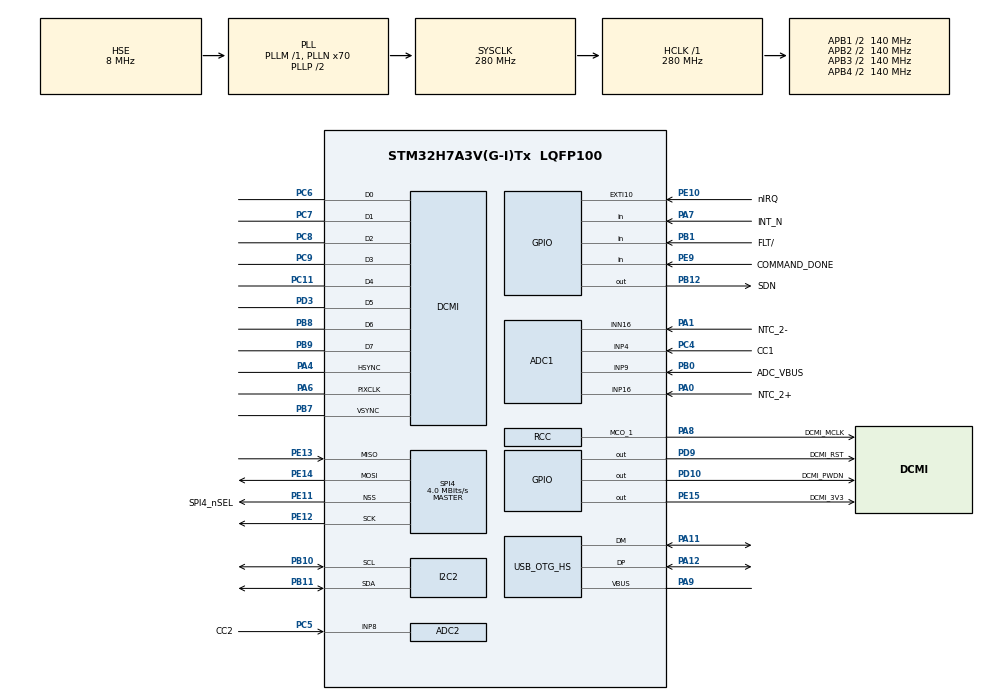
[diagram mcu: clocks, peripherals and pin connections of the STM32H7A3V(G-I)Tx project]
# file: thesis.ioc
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ADC1.Channel-1\#ChannelRegularConversion=ADC_CHANNEL_9
ADC1.ClockPrescaler=ADC_CLOCK_ASYNC_DIV2
ADC1.NbrOfConversionFlag=1
ADC1.OffsetNumber-1\#ChannelRegularConversion=ADC_OFFSET_NONE
ADC1.OffsetSignedSaturation-1\#ChannelRegularConversion=DISABLE
ADC1.Rank-1\#ChannelRegularConversion=1
ADC1.SamplingTime-1\#ChannelRegularConversion=ADC_SAMPLETIME_1CYCLE_5
ADC1.master=1
ADC2.Channel-1\#ChannelRegularConversion=ADC_CHANNEL_8
ADC2.ClockPrescaler=ADC_CLOCK_ASYNC_DIV2
ADC2.NbrOfConversionFlag=1
ADC2.OffsetNumber-1\#ChannelRegularConversion=ADC_OFFSET_NONE
ADC2.OffsetSignedSaturation-1\#ChannelRegularConversion=DISABLE
ADC2.Rank-1\#ChannelRegularConversion=1
ADC2.SamplingTime-1\#ChannelRegularConversion=ADC_SAMPLETIME_1CYCLE_5
CORTEX_M7.default_mode_Activation=1
DCMI.PCKPolarity=DCMI_PCKPOLARITY_RISING
DCMI.VSPolarity=DCMI_VSPOLARITY_HIGH
Dma.DCMI.0.Direction=DMA_PERIPH_TO_MEMORY
Dma.DCMI.0.EventEnable=DISABLE
Dma.DCMI.0.FIFOMode=DMA_FIFOMODE_ENABLE
Dma.DCMI.0.FIFOThreshold=DMA_FIFO_THRESHOLD_FULL
Dma.DCMI.0.Instance=DMA1_Stream0
Dma.DCMI.0.MemBurst=DMA_MBURST_SINGLE
Dma.DCMI.0.MemDataAlignment=DMA_MDATAALIGN_WORD
Dma.DCMI.0.MemInc=DMA_MINC_ENABLE
Dma.DCMI.0.Mode=DMA_NORMAL
Dma.DCMI.0.PeriphBurst=DMA_PBURST_SINGLE
Dma.DCMI.0.PeriphDataAlignment=DMA_PDATAALIGN_WORD
Dma.DCMI.0.PeriphInc=DMA_PINC_DISABLE
Dma.DCMI.0.Polarity=HAL_DMAMUX_REQ_GEN_RISING
Dma.DCMI.0.Priority=DMA_PRIORITY_VERY_HIGH
Dma.DCMI.0.RequestNumber=1
Dma.DCMI.0.SignalID=NONE
Dma.DCMI.0.SyncEnable=DISABLE
Dma.DCMI.0.SyncPolarity=HAL_DMAMUX_SYNC_NO_EVENT
Dma.DCMI.0.SyncRequestNumber=1
Dma.DCMI.0.SyncSignalID=NONE
Dma.Request0=DCMI
Dma.Request1=SPI4_TX
Dma.Request2=SPI4_RX
Dma.SPI4_RX.2.Direction=DMA_PERIPH_TO_MEMORY
Dma.SPI4_RX.2.EventEnable=DISABLE
Dma.SPI4_RX.2.FIFOMode=DMA_FIFOMODE_DISABLE
Dma.SPI4_RX.2.Instance=DMA1_Stream2
Dma.SPI4_RX.2.MemDataAlignment=DMA_MDATAALIGN_BYTE
Dma.SPI4_RX.2.MemInc=DMA_MINC_ENABLE
Dma.SPI4_RX.2.Mode=DMA_NORMAL
Dma.SPI4_RX.2.PeriphDataAlignment=DMA_PDATAALIGN_BYTE
Dma.SPI4_RX.2.PeriphInc=DMA_PINC_DISABLE
Dma.SPI4_RX.2.Polarity=HAL_DMAMUX_REQ_GEN_RISING
Dma.SPI4_RX.2.Priority=DMA_PRIORITY_LOW
Dma.SPI4_RX.2.RequestNumber=1
Dma.SPI4_RX.2.SignalID=NONE
Dma.SPI4_RX.2.SyncEnable=DISABLE
Dma.SPI4_RX.2.SyncPolarity=HAL_DMAMUX_SYNC_NO_EVENT
Dma.SPI4_RX.2.SyncRequestNumber=1
Dma.SPI4_RX.2.SyncSignalID=NONE
Dma.SPI4_TX.1.Direction=DMA_MEMORY_TO_PERIPH
Dma.SPI4_TX.1.EventEnable=DISABLE
Dma.SPI4_TX.1.FIFOMode=DMA_FIFOMODE_DISABLE
Dma.SPI4_TX.1.Instance=DMA1_Stream1
Dma.SPI4_TX.1.MemDataAlignment=DMA_MDATAALIGN_BYTE
Dma.SPI4_TX.1.MemInc=DMA_MINC_ENABLE
Dma.SPI4_TX.1.Mode=DMA_NORMAL
Dma.SPI4_TX.1.PeriphDataAlignment=DMA_PDATAALIGN_BYTE
Dma.SPI4_TX.1.PeriphInc=DMA_PINC_DISABLE
Dma.SPI4_TX.1.Polarity=HAL_DMAMUX_REQ_GEN_RISING
Dma.SPI4_TX.1.Priority=DMA_PRIORITY_LOW
Dma.SPI4_TX.1.RequestNumber=1
Dma.SPI4_TX.1.SignalID=NONE
Dma.SPI4_TX.1.SyncEnable=DISABLE
Dma.SPI4_TX.1.SyncPolarity=HAL_DMAMUX_SYNC_NO_EVENT
Dma.SPI4_TX.1.SyncRequestNumber=1
Dma.SPI4_TX.1.SyncSignalID=NONE
I2C2.Timing=0x20B0CCFF
Mcu.Family=STM32H7
Mcu.Name=STM32H7A3V(G-I)Tx
Mcu.Package=LQFP100
NVIC.DCMI_PSSI_IRQn=true\:0\:0\:false\:false\:true\:true\:true\:true
NVIC.DMA1_Stream0_IRQn=true\:0\:0\:false\:false\:true\:false\:true\:true
NVIC.DMA1_Stream1_IRQn=true\:0\:0\:false\:false\:true\:false\:true\:true
NVIC.DMA1_Stream2_IRQn=true\:0\:0\:false\:false\:true\:false\:true\:true
NVIC.EXTI15_10_IRQn=true\:0\:0\:true\:false\:true\:true\:true\:true
NVIC.OTG_HS_EP1_IN_IRQn=true\:0\:0\:false\:false\:true\:false\:true\:true
NVIC.OTG_HS_EP1_OUT_IRQn=true\:0\:0\:false\:false\:true\:false\:true\:true
NVIC.OTG_HS_IRQn=true\:0\:0\:false\:false\:true\:false\:true\:true
NVIC.PriorityGroup=NVIC_PRIORITYGROUP_4
NVIC.SPI4_IRQn=true\:0\:0\:false\:false\:true\:false\:true\:true
PA0.GPIO_Label=NTC_2+
PA0.Mode=IN16-Differential
PA0.Signal=ADC1_INP16
PA1.GPIO_Label=NTC_2-
PA1.Mode=IN16-Differential
PA1.Signal=ADC1_INN16
PA11.Mode=Device_Only_FS
PA11.Signal=USB_OTG_HS_DM
PA12.Mode=Device_Only_FS
PA12.Signal=USB_OTG_HS_DP
PA13.Mode=Trace_Asynchronous_SW
PA13.Signal=DEBUG_JTMS-SWDIO
PA14.Mode=Trace_Asynchronous_SW
PA14.Signal=DEBUG_JTCK-SWCLK
PA4.GPIO_Speed=GPIO_SPEED_FREQ_VERY_HIGH
PA4.Mode=Slave_8_bits_External_Synchro
PA4.Signal=DCMI_HSYNC
PA6.GPIO_Speed=GPIO_SPEED_FREQ_VERY_HIGH
PA6.Mode=Slave_8_bits_External_Synchro
PA6.Signal=DCMI_PIXCLK
PA7.GPIO_Label=INT_N
PA7.Signal=GPIO_Input
PA8.GPIO_Label=DCMI_MCLK
PA8.GPIO_Speed=GPIO_SPEED_FREQ_VERY_HIGH
PA8.Mode=Clock-out-1
PA8.Signal=RCC_MCO_1
PA9.Mode=Activate_VBUS_FS
PA9.Signal=USB_OTG_HS_VBUS
PB0.GPIO_Label=ADC_VBUS
PB0.Signal=ADCx_INP9
PB1.GPIO_Label=FLT/
PB1.Signal=GPIO_Input
PB10.GPIO_Pu=GPIO_PULLUP
PB10.GPIO_Speed=GPIO_SPEED_FREQ_VERY_HIGH
PB10.Mode=I2C
PB10.Signal=I2C2_SCL
PB11.GPIO_Pu=GPIO_PULLUP
PB11.GPIO_Speed=GPIO_SPEED_FREQ_VERY_HIGH
PB11.Mode=I2C
PB11.Signal=I2C2_SDA
PB12.GPIO_Label=SDN
PB12.GPIO_PuPd=GPIO_PULLDOWN
PB12.GPIO_Speed=GPIO_SPEED_FREQ_VERY_HIGH
PB12.Signal=GPIO_Output
PB3.Mode=Trace_Asynchronous_SW
PB3.Signal=DEBUG_JTDO-SWO
PB7.GPIO_Speed=GPIO_SPEED_FREQ_VERY_HIGH
PB7.Mode=Slave_8_bits_External_Synchro
PB7.Signal=DCMI_VSYNC
PB8.GPIO_Speed=GPIO_SPEED_FREQ_VERY_HIGH
PB8.Mode=Slave_8_bits_External_Synchro
PB8.Signal=DCMI_D6
PB9.GPIO_Speed=GPIO_SPEED_FREQ_VERY_HIGH
PB9.Mode=Slave_8_bits_External_Synchro
PB9.Signal=DCMI_D7
PC11.GPIO_Speed=GPIO_SPEED_FREQ_VERY_HIGH
PC11.Mode=Slave_8_bits_External_Synchro
PC11.Signal=DCMI_D4
PC4.GPIO_Label=CC1
PC4.Signal=ADCx_INP4
PC5.GPIO_Label=CC2
PC5.Signal=ADCx_INP8
PC6.GPIO_Speed=GPIO_SPEED_FREQ_VERY_HIGH
PC6.Mode=Slave_8_bits_External_Synchro
PC6.Signal=DCMI_D0
PC7.GPIO_Speed=GPIO_SPEED_FREQ_VERY_HIGH
PC7.Mode=Slave_8_bits_External_Synchro
PC7.Signal=DCMI_D1
PC8.GPIO_Speed=GPIO_SPEED_FREQ_VERY_HIGH
PC8.Mode=Slave_8_bits_External_Synchro
PC8.Signal=DCMI_D2
PC9.GPIO_Speed=GPIO_SPEED_FREQ_VERY_HIGH
PC9.Mode=Slave_8_bits_External_Synchro
PC9.Signal=DCMI_D3
PD10.GPIO_Label=DCMI_PWDN
PD10.GPIO_Speed=GPIO_SPEED_FREQ_VERY_HIGH
PD10.PinState=GPIO_PIN_SET
PD10.Signal=GPIO_Output
PD3.GPIO_Speed=GPIO_SPEED_FREQ_VERY_HIGH
PD3.Mode=Slave_8_bits_External_Synchro
PD3.Signal=DCMI_D5
PD9.GPIO_Label=DCMI_RST
PD9.GPIO_Speed=GPIO_SPEED_FREQ_VERY_HIGH
PD9.Signal=GPIO_Output
PE10.GPIO_Label=nIRQ
PE10.GPIO_ModeDefaultEXTI=GPIO_MODE_IT_FALLING
PE10.GPIO_PuPd=GPIO_NOPULL
PE10.Signal=GPXTI10
PE11.GPIO_Label=SPI4_nSEL
PE11.GPIO_PuPd=GPIO_PULLUP
PE11.GPIO_Speed=GPIO_SPEED_FREQ_VERY_HIGH
PE11.Mode=NSS_Signal_Hard_Output
PE11.Signal=SPI4_NSS
PE12.GPIO_Speed=GPIO_SPEED_FREQ_VERY_HIGH
PE12.Mode=Full_Duplex_Master
PE12.Signal=SPI4_SCK
PE13.GPIO_PuPd=GPIO_NOPULL
PE13.GPIO_Speed=GPIO_SPEED_FREQ_VERY_HIGH
PE13.Mode=Full_Duplex_Master
PE13.Signal=SPI4_MISO
PE14.GPIO_Speed=GPIO_SPEED_FREQ_VERY_HIGH
PE14.Mode=Full_Duplex_Master
PE14.Signal=SPI4_MOSI
PE15.GPIO_Label=DCMI_3V3
PE15.Signal=GPIO_Output
PE9.GPIO_Label=COMMAND_DONE
PE9.Signal=GPIO_Input
PH0-OSC_IN.Mode=HSE-External-Clock-Source
PH0-OSC_IN.Signal=RCC_OSC_IN
ProjectManager.HeapSize=0x200
ProjectManager.StackSize=0x400
ProjectManager.TargetToolchain=STM32CubeIDE
RCC.ADCCLockSelection=RCC_ADCCLKSOURCE_CLKP
RCC.ADCFreq_Value=8000000
RCC.APB1Freq_Value=140000000
RCC.APB2Freq_Value=140000000
RCC.APB3Freq_Value=140000000
RCC.APB4Freq_Value=140000000
RCC.CDPPRE=RCC_APB3_DIV2
RCC.CDPPRE1=RCC_APB1_DIV2
RCC.CDPPRE2=RCC_APB2_DIV2
RCC.CKPERSourceSelection=RCC_CLKPSOURCE_HSE
RCC.CortexFreq_Value=280000000
RCC.DIVM1=1
RCC.DIVM2=1
RCC.DIVM3=1
RCC.DIVN1=70
RCC.DIVN2=16
RCC.DIVN3=18
RCC.DIVQ1=25
RCC.DIVQ2=16
RCC.DIVQ3=3
RCC.DIVR1=4
RCC.DIVR3=128
RCC.HCLKFreq_Value=280000000
RCC.HSE_VALUE=8000000
RCC.PLL1_VCI_Range=RCC_PLL1VCIRANGE_3
RCC.PLL2FRACN=0
RCC.PLL3FRACN=0
RCC.PLLFRACN=0
RCC.RCC_MCO1Source=RCC_MCO1SOURCE_PLL1QCLK
RCC.SRDPPRE=RCC_APB4_DIV2
RCC.SYSCLKFreq_VALUE=280000000
RCC.SYSCLKSource=RCC_SYSCLKSOURCE_PLLCLK
RCC.Spi45ClockSelection=RCC_SPI45CLKSOURCE_PLL2
RCC.USBCLockSelection=RCC_USBCLKSOURCE_PLL3
RCC.USBFreq_Value=48000000
SH.ADCx_INP4.0=ADC1_INP4,IN4-Single-Ended
SH.ADCx_INP8.0=ADC2_INP8,IN8-Single-Ended
SH.ADCx_INP9.0=ADC1_INP9,IN9-Single-Ended
SPI4.BaudRatePrescaler=SPI_BAUDRATEPRESCALER_2
SPI4.CLKPhase=SPI_PHASE_1EDGE
SPI4.CLKPolarity=SPI_POLARITY_LOW
SPI4.CalculateBaudRate=4.0 MBits/s
SPI4.DataSize=SPI_DATASIZE_8BIT
SPI4.Direction=SPI_DIRECTION_2LINES
SPI4.Mode=SPI_MODE_MASTER
SPI4.VirtualNSS=VM_NSSHARD
SPI4.VirtualType=VM_MASTER
USB_DEVICE.CLASS_NAME_HS=CDC
USB_DEVICE.VirtualMode=Cdc
USB_DEVICE.VirtualModeHS=Cdc_HS
USB_OTG_HS.VirtualMode-Device_Only_FS=Device_Only_FS
USB_OTG_HS.dma_enable-Device_Only_FS=DISABLE
USB_OTG_HS.low_power_enable-Device_Only_FS=DISABLE
USB_OTG_HS.use_dedicated_ep1-Device_Only_FS=DISABLE
VP_ADC2_TempSens_Input.Mode=IN-TempSens
VP_MEMORYMAP_VS_MEMORYMAP.Mode=CurAppReg
VP_USB_DEVICE_VS_USB_DEVICE_CDC_HS.Mode=CDC_HS
board=custom

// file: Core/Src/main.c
/* USER CODE BEGIN Header */
/**
  ******************************************************************************
  * @file           : main.c
  * @brief          : Main program body
  ******************************************************************************
  * @attention
  *
  * Copyright (c) 2025 STMicroelectronics.
  * All rights reserved.
  *
  * This software is licensed under terms that can be found in the LICENSE file
  * in the root directory of this software component.
  * If no LICENSE file comes with this software, it is provided AS-IS.
  *
  ******************************************************************************
  */
/* USER CODE END Header */
#include "main.h"
#include "usb_device.h"

/* USER CODE BEGIN Includes */
#include "usbd_cdc_if.h"
/* USER CODE END Includes */

/* USER CODE BEGIN PTD */
#include "custom_typedefs.h"
/* USER CODE END PTD */

/* USER CODE BEGIN PD */
//#define GROUND_STATION									// <<<<<<< UNCOMMENT WHEN FLASHING THE GROUND STATION
/* USER CODE END PD */

ADC_HandleTypeDef hadc1;
ADC_HandleTypeDef hadc2;

DCMI_HandleTypeDef hdcmi;
DMA_HandleTypeDef hdma_dcmi;

I2C_HandleTypeDef hi2c2;

SPI_HandleTypeDef hspi4;
DMA_HandleTypeDef hdma_spi4_tx;
DMA_HandleTypeDef hdma_spi4_rx;

/* USER CODE BEGIN PV */
/* USER CODE BEGIN PV */
// Include of setup.h has to happen here, to support extern loading of globally defined variable

HAL_StatusTypeDef status = 0;
fault_flag error_index = 0;
char cmd_index = '0';
uint8_t cam_mode_select = 0xFF;
uint8_t radio_nirq = 0;
uint8_t ping_in_progress = 0;

uint32_t img_size;
uint8_t img_flag = 0; // img is not being transmitted
uint32_t img_progress = 0x100000000; // indicate actual position of transmitted img data - idle
uint8_t ack = 0;
#include <routines.h>
/* USER CODE END PV */

void SystemClock_Config(void);
void PeriphCommonClock_Config(void);
static void MPU_Config(void);
static void MX_GPIO_Init(void);
static void MX_DMA_Init(void);
static void MX_DCMI_Init(void);
static void MX_I2C2_Init(void);
static void MX_ADC1_Init(void);
static void MX_ADC2_Init(void);
static void MX_SPI4_Init(void);

/* USER CODE BEGIN 0 */

void USB_CDC_RxHandler(uint8_t *buffer, uint32_t size) {
	char cmd_temp = buffer[0];
	if (cmd_temp == '\r') {
		return;
	}
	else if (size == 1) {
		cmd_index = (char) buffer[0];
	}
	else {
		uint8_t first = (uint8_t) buffer[0] - '1';
		uint8_t second = (uint8_t) buffer[1] - '1';

		cam_mode_select = first * 16 + second;
		/*
		char mode_temp[2] = {buffer[0], buffer[1]};
		switch(mode_temp) {
			case "11": {cam_mode_select = 0x00;}
			case "12": {cam_mode_select = 0x01;}
			case "21": {cam_mode_select = 0x10;}
			case "22": {cam_mode_select = 0x11;}
			case "31": {cam_mode_select = 0x20;}
			case "32": {cam_mode_select = 0x21;}
			case "41": {cam_mode_select = 0x30;}
			case "42": {cam_mode_select = 0x31;}
			default: {
				cam_mode_select = 0xAA; //ERROR
			}
		}*/
	}
}

/* USER CODE END 0 */

int main(void)
{

  /* MPU Configuration--------------------------------------------------------*/
  MPU_Config();

  /* MCU Configuration--------------------------------------------------------*/

  /* Reset of all peripherals, Initializes the Flash interface and the Systick. */
  HAL_Init();

  /* Configure the system clock */
  SystemClock_Config();

  /* Configure the peripherals common clocks */
  PeriphCommonClock_Config();

  /* Initialize all configured peripherals */
  MX_GPIO_Init();
  MX_DMA_Init();
  MX_DCMI_Init();
  MX_I2C2_Init();
  MX_ADC1_Init();
  MX_ADC2_Init();
  MX_USB_DEVICE_Init();
  MX_SPI4_Init();

  /* Infinite loop */
  /* USER CODE BEGIN WHILE */

  setup(&status, &error_index);
  uint8_t img_buffer[614400] = {0};
  //nirq_handler(&status, &error_index, &ping_in_progress);
#ifdef GROUND_STATION
  cmd_main_win();
#endif
  //HAL_NVIC_EnableIRQ(nIRQ_EXTI_IRQn);
  while (1) {
 	  if (radio_nirq) {
		  // Handling of the packet IRQ
		  //HAL_NVIC_DisableIRQ(nIRQ_EXTI_IRQn);
		  nirq_handler(&status, &error_index, &ping_in_progress, &ack, img_buffer, &img_progress);
		  //HAL_NVIC_EnableIRQ(nIRQ_EXTI_IRQn);
		  radio_nirq = 0;
	  }
	  if (img_flag && ack) {
		  transmit_img(&status, &error_index, img_buffer, &img_progress);
		  ack = 0;

	  }
#ifdef GROUND_STATION
	  if (ping_in_progress == 2) {
		  ping_in_progress = 0;
		  uint8_t buffer[] = "Ping received \r\n";
		  uint8_t buffer_size = sizeof(buffer);
		  CDC_Transmit_HS(buffer, buffer_size);
	  }
	  switch (cmd_index) {

	  		  // Idle
	  		  case '0':
	  			break;

	  		  // Ping
	  		  case '1': {
	  			  ping_in_progress = 1;
	  			  radio_ping(&status);
	  			  uint8_t buffer[] = "Ping send \r\n";
	  			  uint8_t buffer_size = sizeof(buffer);
	  			  CDC_Transmit_HS(buffer, buffer_size);
	  			  cmd_index = '0';
	  			  break;
	  			}

	  		  // Telemetry
	  		  case '2': {
	  			  cmd_index = '0';
	  			break;
	  		  }

	  		  // IMG
	  		  case '3': {
	  			  cmd_img_options();
	  			  while (cam_mode_select == 0xFF) {
	  				  if (cam_mode_select == 0xAA) {
	  					  uint8_t buffer[] = "Unrecognized command \r\n";
	  					  uint16_t buffer_size = sizeof(buffer);
	  					  CDC_Transmit_HS(buffer, buffer_size);
	  					  cmd_index = '0';
	  					  break;
	  				  }
	  			  }
	  			  //capture_img(&status, &error_index, &cam_mode_select);
	  			  request_img(&status, &error_index, &cam_mode_select);
	  			  cmd_index = '0';
	  			  cam_mode_select = 0xFF; //return to default state
	  			break;
	  		  }
	  		  case '4': {
	  			uint8_t buffer[] = "\e[1;1H\e[2J";
	  			uint16_t buffer_size = sizeof(buffer);
	  			CDC_Transmit_HS(buffer, buffer_size);
	  			cmd_index = '0';
	  			HAL_Delay(100);
	  			cmd_main_win();
	  			break;
	  		  }
	  		  case '5': {
	  			  get_GS_state(&status);
	  			  cmd_index = '0';
	  			  break;
	  		  }
	  		  case '6': {
	  			img_flag = 0;
	  			cmd_index = '0';
	  			uint8_t buffer[] = "Flags reset \r\n";
	  			uint16_t buffer_size = sizeof(buffer);
	  			CDC_Transmit_HS(buffer, buffer_size);
	  			radio_mode_Rx(status);

	  			break;
	  		  }
	  		  default: {
	  			uint8_t buffer[] = "Unrecognized command \r\n";
	  			uint16_t buffer_size = sizeof(buffer);
	  			CDC_Transmit_HS(buffer, buffer_size);
	  			cmd_index = '0';
	  		  }
	  	  }
#endif

    /* USER CODE END WHILE */

  }
}

void SystemClock_Config(void)
{
  RCC_OscInitTypeDef RCC_OscInitStruct = {0};
  RCC_ClkInitTypeDef RCC_ClkInitStruct = {0};

  /*AXI clock gating */
  RCC->CKGAENR = 0xFFFFFFFF;

  /** Supply configuration update enable
  */
  HAL_PWREx_ConfigSupply(PWR_LDO_SUPPLY);

  /** Configure the main internal regulator output voltage
  */
  __HAL_PWR_VOLTAGESCALING_CONFIG(PWR_REGULATOR_VOLTAGE_SCALE0);

  while(!__HAL_PWR_GET_FLAG(PWR_FLAG_VOSRDY)) {}

  /** Initializes the RCC Oscillators according to the specified parameters
  * in the RCC_OscInitTypeDef structure.
  */
  RCC_OscInitStruct.OscillatorType = RCC_OSCILLATORTYPE_HSE;
  RCC_OscInitStruct.HSEState = RCC_HSE_BYPASS;
  RCC_OscInitStruct.PLL.PLLState = RCC_PLL_ON;
  RCC_OscInitStruct.PLL.PLLSource = RCC_PLLSOURCE_HSE;
  RCC_OscInitStruct.PLL.PLLM = 1;
  RCC_OscInitStruct.PLL.PLLN = 70;
  RCC_OscInitStruct.PLL.PLLP = 2;
  RCC_OscInitStruct.PLL.PLLQ = 25;
  RCC_OscInitStruct.PLL.PLLR = 4;
  RCC_OscInitStruct.PLL.PLLRGE = RCC_PLL1VCIRANGE_3;
  RCC_OscInitStruct.PLL.PLLVCOSEL = RCC_PLL1VCOWIDE;
  RCC_OscInitStruct.PLL.PLLFRACN = 0;
  if (HAL_RCC_OscConfig(&RCC_OscInitStruct) != HAL_OK)
  {
    Error_Handler();
  }

  /** Initializes the CPU, AHB and APB buses clocks
  */
  RCC_ClkInitStruct.ClockType = RCC_CLOCKTYPE_HCLK|RCC_CLOCKTYPE_SYSCLK
                              |RCC_CLOCKTYPE_PCLK1|RCC_CLOCKTYPE_PCLK2
                              |RCC_CLOCKTYPE_D3PCLK1|RCC_CLOCKTYPE_D1PCLK1;
  RCC_ClkInitStruct.SYSCLKSource = RCC_SYSCLKSOURCE_PLLCLK;
  RCC_ClkInitStruct.SYSCLKDivider = RCC_SYSCLK_DIV1;
  RCC_ClkInitStruct.AHBCLKDivider = RCC_HCLK_DIV1;
  RCC_ClkInitStruct.APB3CLKDivider = RCC_APB3_DIV2;
  RCC_ClkInitStruct.APB1CLKDivider = RCC_APB1_DIV2;
  RCC_ClkInitStruct.APB2CLKDivider = RCC_APB2_DIV2;
  RCC_ClkInitStruct.APB4CLKDivider = RCC_APB4_DIV2;

  if (HAL_RCC_ClockConfig(&RCC_ClkInitStruct, FLASH_LATENCY_6) != HAL_OK)
  {
    Error_Handler();
  }
  __HAL_RCC_PLLCLKOUT_ENABLE(RCC_PLL1_DIVQ);
  HAL_RCC_MCOConfig(RCC_MCO1, RCC_MCO1SOURCE_PLL1QCLK, RCC_MCODIV_1);
}

void PeriphCommonClock_Config(void)
{
  RCC_PeriphCLKInitTypeDef PeriphClkInitStruct = {0};

  /** Initializes the peripherals clock
  */
  PeriphClkInitStruct.PeriphClockSelection = RCC_PERIPHCLK_CKPER;
  PeriphClkInitStruct.CkperClockSelection = RCC_CLKPSOURCE_HSE;
  if (HAL_RCCEx_PeriphCLKConfig(&PeriphClkInitStruct) != HAL_OK)
  {
    Error_Handler();
  }
}

static void MX_ADC1_Init(void)
{

  ADC_MultiModeTypeDef multimode = {0};
  ADC_ChannelConfTypeDef sConfig = {0};

  /** Common config
  */
  hadc1.Instance = ADC1;
  hadc1.Init.ClockPrescaler = ADC_CLOCK_ASYNC_DIV2;
  hadc1.Init.Resolution = ADC_RESOLUTION_16B;
  hadc1.Init.ScanConvMode = ADC_SCAN_DISABLE;
  hadc1.Init.EOCSelection = ADC_EOC_SINGLE_CONV;
  hadc1.Init.LowPowerAutoWait = DISABLE;
  hadc1.Init.ContinuousConvMode = DISABLE;
  hadc1.Init.NbrOfConversion = 1;
  hadc1.Init.DiscontinuousConvMode = DISABLE;
  hadc1.Init.ExternalTrigConv = ADC_SOFTWARE_START;
  hadc1.Init.ExternalTrigConvEdge = ADC_EXTERNALTRIGCONVEDGE_NONE;
  hadc1.Init.ConversionDataManagement = ADC_CONVERSIONDATA_DR;
  hadc1.Init.Overrun = ADC_OVR_DATA_PRESERVED;
  hadc1.Init.LeftBitShift = ADC_LEFTBITSHIFT_NONE;
  hadc1.Init.OversamplingMode = DISABLE;
  if (HAL_ADC_Init(&hadc1) != HAL_OK)
  {
    Error_Handler();
  }

  /** Configure the ADC multi-mode
  */
  multimode.Mode = ADC_MODE_INDEPENDENT;
  if (HAL_ADCEx_MultiModeConfigChannel(&hadc1, &multimode) != HAL_OK)
  {
    Error_Handler();
  }

  /** Configure Regular Channel
  */
  sConfig.Channel = ADC_CHANNEL_9;
  sConfig.Rank = ADC_REGULAR_RANK_1;
  sConfig.SamplingTime = ADC_SAMPLETIME_1CYCLE_5;
  sConfig.SingleDiff = ADC_SINGLE_ENDED;
  sConfig.OffsetNumber = ADC_OFFSET_NONE;
  sConfig.Offset = 0;
  sConfig.OffsetSignedSaturation = DISABLE;
  if (HAL_ADC_ConfigChannel(&hadc1, &sConfig) != HAL_OK)
  {
    Error_Handler();
  }

}

static void MX_ADC2_Init(void)
{

  ADC_ChannelConfTypeDef sConfig = {0};

  /** Common config
  */
  hadc2.Instance = ADC2;
  hadc2.Init.ClockPrescaler = ADC_CLOCK_ASYNC_DIV2;
  hadc2.Init.Resolution = ADC_RESOLUTION_16B;
  hadc2.Init.ScanConvMode = ADC_SCAN_DISABLE;
  hadc2.Init.EOCSelection = ADC_EOC_SINGLE_CONV;
  hadc2.Init.LowPowerAutoWait = DISABLE;
  hadc2.Init.ContinuousConvMode = DISABLE;
  hadc2.Init.NbrOfConversion = 1;
  hadc2.Init.DiscontinuousConvMode = DISABLE;
  hadc2.Init.ExternalTrigConv = ADC_SOFTWARE_START;
  hadc2.Init.ExternalTrigConvEdge = ADC_EXTERNALTRIGCONVEDGE_NONE;
  hadc2.Init.ConversionDataManagement = ADC_CONVERSIONDATA_DR;
  hadc2.Init.Overrun = ADC_OVR_DATA_PRESERVED;
  hadc2.Init.LeftBitShift = ADC_LEFTBITSHIFT_NONE;
  hadc2.Init.OversamplingMode = DISABLE;
  if (HAL_ADC_Init(&hadc2) != HAL_OK)
  {
    Error_Handler();
  }

  /** Configure Regular Channel
  */
  sConfig.Channel = ADC_CHANNEL_8;
  sConfig.Rank = ADC_REGULAR_RANK_1;
  sConfig.SamplingTime = ADC_SAMPLETIME_1CYCLE_5;
  sConfig.SingleDiff = ADC_SINGLE_ENDED;
  sConfig.OffsetNumber = ADC_OFFSET_NONE;
  sConfig.Offset = 0;
  sConfig.OffsetSignedSaturation = DISABLE;
  if (HAL_ADC_ConfigChannel(&hadc2, &sConfig) != HAL_OK)
  {
    Error_Handler();
  }

}

static void MX_DCMI_Init(void)
{

  hdcmi.Instance = DCMI;
  hdcmi.Init.SynchroMode = DCMI_SYNCHRO_HARDWARE;
  hdcmi.Init.PCKPolarity = DCMI_PCKPOLARITY_RISING;
  hdcmi.Init.VSPolarity = DCMI_VSPOLARITY_HIGH;
  hdcmi.Init.HSPolarity = DCMI_HSPOLARITY_LOW;
  hdcmi.Init.CaptureRate = DCMI_CR_ALL_FRAME;
  hdcmi.Init.ExtendedDataMode = DCMI_EXTEND_DATA_8B;
  hdcmi.Init.JPEGMode = DCMI_JPEG_DISABLE;
  hdcmi.Init.ByteSelectMode = DCMI_BSM_ALL;
  hdcmi.Init.ByteSelectStart = DCMI_OEBS_ODD;
  hdcmi.Init.LineSelectMode = DCMI_LSM_ALL;
  hdcmi.Init.LineSelectStart = DCMI_OELS_ODD;
  if (HAL_DCMI_Init(&hdcmi) != HAL_OK)
  {
    Error_Handler();
  }

}

static void MX_I2C2_Init(void)
{

  hi2c2.Instance = I2C2;
  hi2c2.Init.Timing = 0x20B0CCFF;
  hi2c2.Init.OwnAddress1 = 0;
  hi2c2.Init.AddressingMode = I2C_ADDRESSINGMODE_7BIT;
  hi2c2.Init.DualAddressMode = I2C_DUALADDRESS_DISABLE;
  hi2c2.Init.OwnAddress2 = 0;
  hi2c2.Init.OwnAddress2Masks = I2C_OA2_NOMASK;
  hi2c2.Init.GeneralCallMode = I2C_GENERALCALL_DISABLE;
  hi2c2.Init.NoStretchMode = I2C_NOSTRETCH_DISABLE;
  if (HAL_I2C_Init(&hi2c2) != HAL_OK)
  {
    Error_Handler();
  }

  /** Configure Analogue filter
  */
  if (HAL_I2CEx_ConfigAnalogFilter(&hi2c2, I2C_ANALOGFILTER_ENABLE) != HAL_OK)
  {
    Error_Handler();
  }

  /** Configure Digital filter
  */
  if (HAL_I2CEx_ConfigDigitalFilter(&hi2c2, 0) != HAL_OK)
  {
    Error_Handler();
  }

}

static void MX_SPI4_Init(void)
{

  /* SPI4 parameter configuration*/
  hspi4.Instance = SPI4;
  hspi4.Init.Mode = SPI_MODE_MASTER;
  hspi4.Init.Direction = SPI_DIRECTION_2LINES;
  hspi4.Init.DataSize = SPI_DATASIZE_8BIT;
  hspi4.Init.CLKPolarity = SPI_POLARITY_LOW;
  hspi4.Init.CLKPhase = SPI_PHASE_1EDGE;
  hspi4.Init.NSS = SPI_NSS_HARD_OUTPUT;
  hspi4.Init.BaudRatePrescaler = SPI_BAUDRATEPRESCALER_2;
  hspi4.Init.FirstBit = SPI_FIRSTBIT_MSB;
  hspi4.Init.TIMode = SPI_TIMODE_DISABLE;
  hspi4.Init.CRCCalculation = SPI_CRCCALCULATION_DISABLE;
  hspi4.Init.CRCPolynomial = 0x0;
  hspi4.Init.NSSPMode = SPI_NSS_PULSE_ENABLE;
  hspi4.Init.NSSPolarity = SPI_NSS_POLARITY_LOW;
  hspi4.Init.FifoThreshold = SPI_FIFO_THRESHOLD_01DATA;
  hspi4.Init.TxCRCInitializationPattern = SPI_CRC_INITIALIZATION_ALL_ZERO_PATTERN;
  hspi4.Init.RxCRCInitializationPattern = SPI_CRC_INITIALIZATION_ALL_ZERO_PATTERN;
  hspi4.Init.MasterSSIdleness = SPI_MASTER_SS_IDLENESS_00CYCLE;
  hspi4.Init.MasterInterDataIdleness = SPI_MASTER_INTERDATA_IDLENESS_00CYCLE;
  hspi4.Init.MasterReceiverAutoSusp = SPI_MASTER_RX_AUTOSUSP_DISABLE;
  hspi4.Init.MasterKeepIOState = SPI_MASTER_KEEP_IO_STATE_DISABLE;
  hspi4.Init.IOSwap = SPI_IO_SWAP_DISABLE;
  if (HAL_SPI_Init(&hspi4) != HAL_OK)
  {
    Error_Handler();
  }

}

static void MX_DMA_Init(void)
{

  /* DMA controller clock enable */
  __HAL_RCC_DMA1_CLK_ENABLE();

  /* DMA interrupt init */
  /* DMA1_Stream0_IRQn interrupt configuration */
  HAL_NVIC_SetPriority(DMA1_Stream0_IRQn, 0, 0);
  HAL_NVIC_EnableIRQ(DMA1_Stream0_IRQn);
  /* DMA1_Stream1_IRQn interrupt configuration */
  HAL_NVIC_SetPriority(DMA1_Stream1_IRQn, 0, 0);
  HAL_NVIC_EnableIRQ(DMA1_Stream1_IRQn);
  /* DMA1_Stream2_IRQn interrupt configuration */
  HAL_NVIC_SetPriority(DMA1_Stream2_IRQn, 0, 0);
  HAL_NVIC_EnableIRQ(DMA1_Stream2_IRQn);

}

static void MX_GPIO_Init(void)
{
  GPIO_InitTypeDef GPIO_InitStruct = {0};

  /* GPIO Ports Clock Enable */
  __HAL_RCC_GPIOH_CLK_ENABLE();
  __HAL_RCC_GPIOA_CLK_ENABLE();
  __HAL_RCC_GPIOC_CLK_ENABLE();
  __HAL_RCC_GPIOB_CLK_ENABLE();
  __HAL_RCC_GPIOE_CLK_ENABLE();
  __HAL_RCC_GPIOD_CLK_ENABLE();

  /*Configure GPIO pin Output Level */
  HAL_GPIO_WritePin(DCMI_3V3_GPIO_Port, DCMI_3V3_Pin, GPIO_PIN_RESET);

  /*Configure GPIO pin Output Level */
  HAL_GPIO_WritePin(SDN_GPIO_Port, SDN_Pin, GPIO_PIN_RESET);

  /*Configure GPIO pin Output Level */
  HAL_GPIO_WritePin(DCMI_RST_GPIO_Port, DCMI_RST_Pin, GPIO_PIN_RESET);

  /*Configure GPIO pin Output Level */
  HAL_GPIO_WritePin(DCMI_PWDN_GPIO_Port, DCMI_PWDN_Pin, GPIO_PIN_SET);

  /*Configure GPIO pin : INT_N_Pin */
  GPIO_InitStruct.Pin = INT_N_Pin;
  GPIO_InitStruct.Mode = GPIO_MODE_INPUT;
  GPIO_InitStruct.Pull = GPIO_NOPULL;
  HAL_GPIO_Init(INT_N_GPIO_Port, &GPIO_InitStruct);

  /*Configure GPIO pin : FLT__Pin */
  GPIO_InitStruct.Pin = FLT__Pin;
  GPIO_InitStruct.Mode = GPIO_MODE_INPUT;
  GPIO_InitStruct.Pull = GPIO_NOPULL;
  HAL_GPIO_Init(FLT__GPIO_Port, &GPIO_InitStruct);

  /*Configure GPIO pin : COMMAND_DONE_Pin */
  GPIO_InitStruct.Pin = COMMAND_DONE_Pin;
  GPIO_InitStruct.Mode = GPIO_MODE_INPUT;
  GPIO_InitStruct.Pull = GPIO_NOPULL;
  HAL_GPIO_Init(COMMAND_DONE_GPIO_Port, &GPIO_InitStruct);

  /*Configure GPIO pin : nIRQ_Pin */
  GPIO_InitStruct.Pin = nIRQ_Pin;
  GPIO_InitStruct.Mode = GPIO_MODE_IT_FALLING;
  GPIO_InitStruct.Pull = GPIO_NOPULL;
  HAL_GPIO_Init(nIRQ_GPIO_Port, &GPIO_InitStruct);

  /*Configure GPIO pin : DCMI_3V3_Pin */
  GPIO_InitStruct.Pin = DCMI_3V3_Pin;
  GPIO_InitStruct.Mode = GPIO_MODE_OUTPUT_PP;
  GPIO_InitStruct.Pull = GPIO_NOPULL;
  GPIO_InitStruct.Speed = GPIO_SPEED_FREQ_LOW;
  HAL_GPIO_Init(DCMI_3V3_GPIO_Port, &GPIO_InitStruct);

  /*Configure GPIO pin : SDN_Pin */
  GPIO_InitStruct.Pin = SDN_Pin;
  GPIO_InitStruct.Mode = GPIO_MODE_OUTPUT_PP;
  GPIO_InitStruct.Pull = GPIO_PULLDOWN;
  GPIO_InitStruct.Speed = GPIO_SPEED_FREQ_VERY_HIGH;
  HAL_GPIO_Init(SDN_GPIO_Port, &GPIO_InitStruct);

  /*Configure GPIO pins : DCMI_RST_Pin DCMI_PWDN_Pin */
  GPIO_InitStruct.Pin = DCMI_RST_Pin|DCMI_PWDN_Pin;
  GPIO_InitStruct.Mode = GPIO_MODE_OUTPUT_PP;
  GPIO_InitStruct.Pull = GPIO_NOPULL;
  GPIO_InitStruct.Speed = GPIO_SPEED_FREQ_VERY_HIGH;
  HAL_GPIO_Init(GPIOD, &GPIO_InitStruct);

  /*Configure GPIO pin : DCMI_MCLK_Pin */
  GPIO_InitStruct.Pin = DCMI_MCLK_Pin;
  GPIO_InitStruct.Mode = GPIO_MODE_AF_PP;
  GPIO_InitStruct.Pull = GPIO_NOPULL;
  GPIO_InitStruct.Speed = GPIO_SPEED_FREQ_VERY_HIGH;
  GPIO_InitStruct.Alternate = GPIO_AF0_MCO;
  HAL_GPIO_Init(DCMI_MCLK_GPIO_Port, &GPIO_InitStruct);

  /* EXTI interrupt init*/
  HAL_NVIC_SetPriority(nIRQ_EXTI_IRQn, 0, 0);
  HAL_NVIC_EnableIRQ(nIRQ_EXTI_IRQn);

}

/* USER CODE BEGIN 4 */
void HAL_GPIO_EXTI_Callback(uint16_t GPIO_Pin)
{
  if(GPIO_Pin == GPIO_PIN_10) {
    radio_nirq = 1;
  }
}
/* USER CODE END 4 */

 /* MPU Configuration */

void MPU_Config(void)
{
  MPU_Region_InitTypeDef MPU_InitStruct = {0};

  /* Disables the MPU */
  HAL_MPU_Disable();

  /** Initializes and configures the Region and the memory to be protected
  */
  MPU_InitStruct.Enable = MPU_REGION_ENABLE;
  MPU_InitStruct.Number = MPU_REGION_NUMBER0;
  MPU_InitStruct.BaseAddress = 0x0;
  MPU_InitStruct.Size = MPU_REGION_SIZE_4GB;
  MPU_InitStruct.SubRegionDisable = 0x87;
  MPU_InitStruct.TypeExtField = MPU_TEX_LEVEL0;
  MPU_InitStruct.AccessPermission = MPU_REGION_NO_ACCESS;
  MPU_InitStruct.DisableExec = MPU_INSTRUCTION_ACCESS_DISABLE;
  MPU_InitStruct.IsShareable = MPU_ACCESS_SHAREABLE;
  MPU_InitStruct.IsCacheable = MPU_ACCESS_NOT_CACHEABLE;
  MPU_InitStruct.IsBufferable = MPU_ACCESS_NOT_BUFFERABLE;

  HAL_MPU_ConfigRegion(&MPU_InitStruct);
  /* Enables the MPU */
  HAL_MPU_Enable(MPU_PRIVILEGED_DEFAULT);

}

void Error_Handler(void)
{
  __disable_irq();
  while (1)
  {
  }
}
